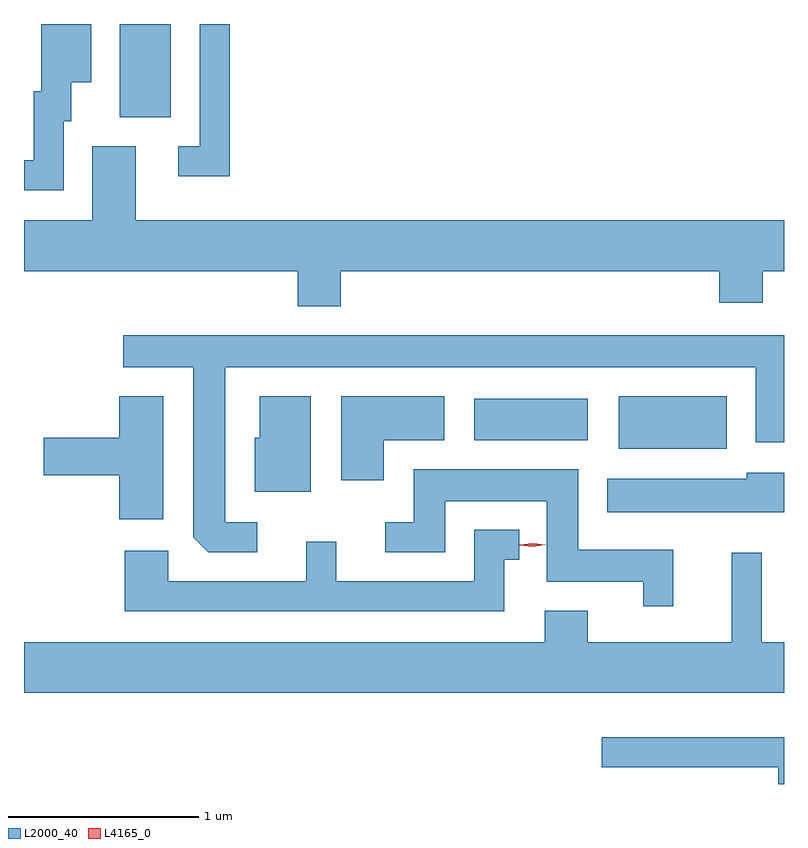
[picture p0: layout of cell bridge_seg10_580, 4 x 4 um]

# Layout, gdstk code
import gdstk
lib = gdstk.Library(unit=1e-6, precision=1e-09)
def R(c, l, rs):  # rectangles x0, y0, x1, y1
    for r in rs: c.add(gdstk.rectangle(r[:2], r[2:], *l))
def P(c, l, *ps):  # polygons
    for p in ps: c.add(gdstk.Polygon(p, *l))
L2000_40 = (2000, 40)
L4165_0 = (4165, 0)

bridge_seg10_580 = lib.new_cell('bridge_seg10_580')
R(bridge_seg10_580, L2000_40, [(703.731,2150.721,704.299,2150.999), (702.971,2150.766,703.569,2150.984), (701.106,2152.466,701.374,2152.957)])
P(bridge_seg10_580, L2000_40, [(701.684,2152.957),(701.526,2152.957),(701.526,2152.314),(701.413,2152.314),(701.413,2152.156),(701.684,2152.156)],
  [(700.809,2152.446),(700.849,2152.446),(700.849,2152.651),(700.954,2152.651),(700.954,2152.957),(700.691,2152.957),(700.691,2152.604),(700.651,2152.604),(700.651,2152.239),(700.601,2152.239),(700.601,2152.081),(700.809,2152.081)],
  [(702.269,2151.656),(704.261,2151.656),(704.261,2151.491),(704.489,2151.491),(704.489,2151.656),(704.601,2151.656),(704.601,2151.924),(701.189,2151.924),(701.189,2152.314),(700.961,2152.314),(700.961,2151.924),(700.601,2151.924),(700.601,2151.656),(702.041,2151.656),(702.041,2151.471),(702.269,2151.471)],
  [(701.828,2150.334),(701.659,2150.334),(701.659,2151.151),(704.451,2151.151),(704.451,2150.756),(704.601,2150.756),(704.601,2151.319),(701.123,2151.319),(701.123,2151.151),(701.491,2151.151),(701.491,2150.257),(701.572,2150.176),(701.828,2150.176)],
  [(701.334,2150.999),(701.101,2150.999),(701.101,2150.779),(700.706,2150.779),(700.706,2150.581),(701.101,2150.581),(701.101,2150.351),(701.334,2150.351)],
  [(702.494,2150.766),(702.814,2150.766),(702.814,2150.999),(702.271,2150.999),(702.271,2150.556),(702.494,2150.556)],
  [(702.109,2150.999),(701.841,2150.999),(701.841,2150.779),(701.816,2150.779),(701.816,2150.496),(702.109,2150.496)],
  [(704.019,2150.189),(703.519,2150.189),(703.519,2150.614),(702.651,2150.614),(702.651,2150.334),(702.503,2150.334),(702.503,2150.176),(702.819,2150.176),(702.819,2150.446),(703.351,2150.446),(703.351,2150.021),(703.861,2150.021),(703.861,2149.893),(704.019,2149.893)],
  [(704.601,2150.594),(704.406,2150.594),(704.406,2150.564),(703.671,2150.564),(703.671,2150.386),(704.601,2150.386)],
  [(703.129,2150.136),(703.208,2150.136),(703.208,2150.294),(702.971,2150.294),(702.971,2150.024),(702.244,2150.024),(702.244,2150.233),(702.086,2150.233),(702.086,2150.024),(701.359,2150.024),(701.359,2150.184),(701.131,2150.184),(701.131,2149.866),(703.129,2149.866)],
  [(704.601,2149.704),(704.484,2149.704),(704.484,2150.173),(704.326,2150.173),(704.326,2149.704),(703.569,2149.704),(703.569,2149.869),(703.341,2149.869),(703.341,2149.704),(700.601,2149.704),(700.601,2149.436),(704.601,2149.436)],
  [(704.601,2149.204),(703.643,2149.204),(703.643,2149.046),(704.571,2149.046),(704.571,2148.957),(704.601,2148.957)])
P(bridge_seg10_580, L4165_0, [(703.278,2150.206),(703.209,2150.214),(703.209,2150.215),(703.209,2150.216),(703.278,2150.225),(703.348,2150.216),(703.348,2150.216),(703.348,2150.215)])

lib.write_gds('bridge_seg10_580.gds')
